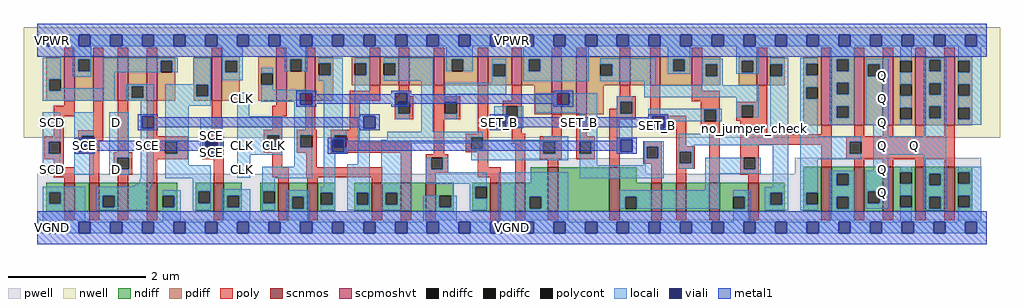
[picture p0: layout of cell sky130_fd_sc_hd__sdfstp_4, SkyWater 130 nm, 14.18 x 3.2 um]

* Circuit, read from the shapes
.subckt sky130_fd_sc_hd__sdfstp_4 CLK D SCD SCE SET_B VGND VNB VPB VPWR Q
XM1 n1 SCD VGND VNB sky130_fd_pr__nfet_01v8 w=0.42 l=0.15
XM2 n2 SCE n1 VNB sky130_fd_pr__nfet_01v8 w=0.42 l=0.15
XM3 n3 D n2 VNB sky130_fd_pr__nfet_01v8 w=0.42 l=0.15
XM4 VGND n4 n3 VNB sky130_fd_pr__nfet_01v8 w=0.42 l=0.15
XM5 VGND SCE n4 VNB sky130_fd_pr__nfet_01v8 w=0.42 l=0.15
XM6 VGND CLK n5 VNB sky130_fd_pr__nfet_01v8 w=0.42 l=0.15
XM7 n6 n5 VGND VNB sky130_fd_pr__nfet_01v8 w=0.42 l=0.15
XM8 n7 n5 n2 VNB sky130_fd_pr__nfet_01v8 w=0.42 l=0.15
XM9 n8 n6 n7 VNB sky130_fd_pr__nfet_01v8 w=0.42 l=0.15
XM10 VGND n9 n8 VNB sky130_fd_pr__nfet_01v8 w=0.42 l=0.15
XM11 n10 n7 n9 VNB sky130_fd_pr__nfet_01v8 w=0.42 l=0.15
XM12 VGND SET_B n10 VNB sky130_fd_pr__nfet_01v8 w=0.42 l=0.15
XM13 n11 n7 VGND VNB sky130_fd_pr__nfet_01v8 w=0.64 l=0.15
XM14 n12 n6 n11 VNB sky130_fd_pr__nfet_01v8 w=0.64 l=0.15
XM15 n13 n5 n12 VNB sky130_fd_pr__nfet_01v8 w=0.42 l=0.15
XM16 n14 n15 n13 VNB sky130_fd_pr__nfet_01v8 w=0.42 l=0.15
XM17 VGND SET_B n14 VNB sky130_fd_pr__nfet_01v8 w=0.42 l=0.15
XM18 n15 n12 VGND VNB sky130_fd_pr__nfet_01v8 w=0.42 l=0.15
XM19 VGND n12 n16 VNB sky130_fd_pr__nfet_01v8 w=0.65 l=0.15
XM20 Q n16 VGND VNB sky130_fd_pr__nfet_01v8 w=0.65 l=0.15 m=4
XM21 VPWR SCD n17 VPB sky130_fd_pr__pfet_01v8_hvt w=0.64 l=0.15
XM22 n18 SCE VPWR VPB sky130_fd_pr__pfet_01v8_hvt w=0.64 l=0.15
XM23 n2 D n18 VPB sky130_fd_pr__pfet_01v8_hvt w=0.64 l=0.15
XM24 n17 n4 n2 VPB sky130_fd_pr__pfet_01v8_hvt w=0.64 l=0.15
XM25 VPWR SCE n4 VPB sky130_fd_pr__pfet_01v8_hvt w=0.64 l=0.15
XM26 VPWR CLK n5 VPB sky130_fd_pr__pfet_01v8_hvt w=0.64 l=0.15
XM27 n6 n5 VPWR VPB sky130_fd_pr__pfet_01v8_hvt w=0.64 l=0.15
XM28 n7 n6 n2 VPB sky130_fd_pr__pfet_01v8_hvt w=0.42 l=0.15
XM29 n19 n5 n7 VPB sky130_fd_pr__pfet_01v8_hvt w=0.42 l=0.15
XM30 VPWR n9 n19 VPB sky130_fd_pr__pfet_01v8_hvt w=0.42 l=0.15
XM31 n9 n7 VPWR VPB sky130_fd_pr__pfet_01v8_hvt w=0.42 l=0.15
XM32 VPWR SET_B n9 VPB sky130_fd_pr__pfet_01v8_hvt w=0.42 l=0.15
XM33 n20 n7 VPWR VPB sky130_fd_pr__pfet_01v8_hvt w=0.84 l=0.15
XM34 n12 n5 n20 VPB sky130_fd_pr__pfet_01v8_hvt w=0.84 l=0.15
XM35 n21 n6 n12 VPB sky130_fd_pr__pfet_01v8_hvt w=0.42 l=0.15
XM36 VPWR n15 n21 VPB sky130_fd_pr__pfet_01v8_hvt w=0.42 l=0.15
XM37 n12 SET_B VPWR VPB sky130_fd_pr__pfet_01v8_hvt w=0.42 l=0.15
XM38 n15 n12 VPWR VPB sky130_fd_pr__pfet_01v8_hvt w=0.42 l=0.15
XM39 VPWR n12 n16 VPB sky130_fd_pr__pfet_01v8_hvt w=1 l=0.15
XM40 Q n16 VPWR VPB sky130_fd_pr__pfet_01v8_hvt w=1 l=0.15 m=4
.ends

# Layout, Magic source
magic
tech sky130A
magscale 1 2
<< nwell >>
rect -38 261 2798 582
<< pwell >>
rect 1408 157 1769 201
rect 2201 157 2744 203
rect 1 21 2744 157
rect 29 -17 63 21
<< scnmos >>
rect 79 47 109 131
rect 151 47 181 131
rect 235 47 265 131
rect 319 47 349 131
rect 513 47 543 131
rect 701 47 731 131
rect 785 47 815 131
rect 973 47 1003 131
rect 1057 47 1087 131
rect 1129 47 1159 131
rect 1317 47 1347 131
rect 1389 47 1419 131
rect 1484 47 1514 175
rect 1663 47 1693 175
rect 1785 47 1815 131
rect 1857 47 1887 131
rect 1953 47 1983 131
rect 2067 47 2097 131
rect 2279 47 2309 177
rect 2374 47 2404 177
rect 2458 47 2488 177
rect 2552 47 2582 177
rect 2636 47 2666 177
<< scpmoshvt >>
rect 79 369 109 497
rect 163 369 193 497
rect 235 369 265 497
rect 319 369 349 497
rect 507 369 537 497
rect 695 369 725 497
rect 779 369 809 497
rect 967 413 997 497
rect 1051 413 1081 497
rect 1153 413 1183 497
rect 1281 413 1311 497
rect 1379 413 1409 497
rect 1495 329 1525 497
rect 1567 329 1597 497
rect 1693 413 1723 497
rect 1781 413 1811 497
rect 1903 413 1933 497
rect 2091 413 2121 497
rect 2279 297 2309 497
rect 2374 297 2404 497
rect 2458 297 2488 497
rect 2552 297 2582 497
rect 2636 297 2666 497
<< ndiff >>
rect 1434 131 1484 175
rect 27 103 79 131
rect 27 69 35 103
rect 69 69 79 103
rect 27 47 79 69
rect 109 47 151 131
rect 181 93 235 131
rect 181 59 191 93
rect 225 59 235 93
rect 181 47 235 59
rect 265 47 319 131
rect 349 93 407 131
rect 349 59 365 93
rect 399 59 407 93
rect 349 47 407 59
rect 461 105 513 131
rect 461 71 469 105
rect 503 71 513 105
rect 461 47 513 71
rect 543 93 595 131
rect 543 59 553 93
rect 587 59 595 93
rect 543 47 595 59
rect 649 105 701 131
rect 649 71 657 105
rect 691 71 701 105
rect 649 47 701 71
rect 731 89 785 131
rect 731 55 741 89
rect 775 55 785 89
rect 731 47 785 55
rect 815 101 867 131
rect 815 67 825 101
rect 859 67 867 101
rect 815 47 867 67
rect 921 101 973 131
rect 921 67 929 101
rect 963 67 973 101
rect 921 47 973 67
rect 1003 101 1057 131
rect 1003 67 1013 101
rect 1047 67 1057 101
rect 1003 47 1057 67
rect 1087 47 1129 131
rect 1159 93 1211 131
rect 1159 59 1169 93
rect 1203 59 1211 93
rect 1159 47 1211 59
rect 1265 119 1317 131
rect 1265 85 1273 119
rect 1307 85 1317 119
rect 1265 47 1317 85
rect 1347 47 1389 131
rect 1419 89 1484 131
rect 1419 55 1431 89
rect 1465 55 1484 89
rect 1419 47 1484 55
rect 1514 47 1663 175
rect 1693 131 1743 175
rect 1693 89 1785 131
rect 1693 55 1709 89
rect 1743 55 1785 89
rect 1693 47 1785 55
rect 1815 47 1857 131
rect 1887 47 1953 131
rect 1983 89 2067 131
rect 1983 55 2023 89
rect 2057 55 2067 89
rect 1983 47 2067 55
rect 2097 101 2173 131
rect 2097 67 2131 101
rect 2165 67 2173 101
rect 2097 47 2173 67
rect 2227 102 2279 177
rect 2227 68 2235 102
rect 2269 68 2279 102
rect 2227 47 2279 68
rect 2309 157 2374 177
rect 2309 123 2324 157
rect 2358 123 2374 157
rect 2309 89 2374 123
rect 2309 55 2324 89
rect 2358 55 2374 89
rect 2309 47 2374 55
rect 2404 105 2458 177
rect 2404 71 2414 105
rect 2448 71 2458 105
rect 2404 47 2458 71
rect 2488 161 2552 177
rect 2488 127 2508 161
rect 2542 127 2552 161
rect 2488 93 2552 127
rect 2488 59 2508 93
rect 2542 59 2552 93
rect 2488 47 2552 59
rect 2582 157 2636 177
rect 2582 123 2592 157
rect 2626 123 2636 157
rect 2582 89 2636 123
rect 2582 55 2592 89
rect 2626 55 2636 89
rect 2582 47 2636 55
rect 2666 161 2718 177
rect 2666 127 2676 161
rect 2710 127 2718 161
rect 2666 93 2718 127
rect 2666 59 2676 93
rect 2710 59 2718 93
rect 2666 47 2718 59
<< pdiff >>
rect 27 431 79 497
rect 27 397 35 431
rect 69 397 79 431
rect 27 369 79 397
rect 109 489 163 497
rect 109 455 119 489
rect 153 455 163 489
rect 109 369 163 455
rect 193 369 235 497
rect 265 411 319 497
rect 265 377 275 411
rect 309 377 319 411
rect 265 369 319 377
rect 349 485 401 497
rect 349 451 359 485
rect 393 451 401 485
rect 349 369 401 451
rect 455 415 507 497
rect 455 381 463 415
rect 497 381 507 415
rect 455 369 507 381
rect 537 485 589 497
rect 537 451 547 485
rect 581 451 589 485
rect 537 369 589 451
rect 643 449 695 497
rect 643 415 651 449
rect 685 415 695 449
rect 643 369 695 415
rect 725 489 779 497
rect 725 455 735 489
rect 769 455 779 489
rect 725 369 779 455
rect 809 477 861 497
rect 809 443 819 477
rect 853 443 861 477
rect 809 369 861 443
rect 915 477 967 497
rect 915 443 923 477
rect 957 443 967 477
rect 915 413 967 443
rect 997 477 1051 497
rect 997 443 1007 477
rect 1041 443 1051 477
rect 997 413 1051 443
rect 1081 413 1153 497
rect 1183 489 1281 497
rect 1183 455 1205 489
rect 1239 455 1281 489
rect 1183 413 1281 455
rect 1311 474 1379 497
rect 1311 440 1326 474
rect 1360 440 1379 474
rect 1311 413 1379 440
rect 1409 489 1495 497
rect 1409 455 1428 489
rect 1462 455 1495 489
rect 1409 413 1495 455
rect 1445 329 1495 413
rect 1525 329 1567 497
rect 1597 475 1693 497
rect 1597 441 1637 475
rect 1671 441 1693 475
rect 1597 413 1693 441
rect 1723 413 1781 497
rect 1811 489 1903 497
rect 1811 455 1848 489
rect 1882 455 1903 489
rect 1811 413 1903 455
rect 1933 474 1985 497
rect 1933 440 1943 474
rect 1977 440 1985 474
rect 1933 413 1985 440
rect 2039 485 2091 497
rect 2039 451 2047 485
rect 2081 451 2091 485
rect 2039 413 2091 451
rect 2121 474 2173 497
rect 2121 440 2131 474
rect 2165 440 2173 474
rect 2121 413 2173 440
rect 2227 476 2279 497
rect 2227 442 2235 476
rect 2269 442 2279 476
rect 1597 329 1647 413
rect 2227 408 2279 442
rect 2227 374 2235 408
rect 2269 374 2279 408
rect 2227 297 2279 374
rect 2309 489 2374 497
rect 2309 455 2324 489
rect 2358 455 2374 489
rect 2309 421 2374 455
rect 2309 387 2324 421
rect 2358 387 2374 421
rect 2309 353 2374 387
rect 2309 319 2324 353
rect 2358 319 2374 353
rect 2309 297 2374 319
rect 2404 474 2458 497
rect 2404 440 2414 474
rect 2448 440 2458 474
rect 2404 297 2458 440
rect 2488 485 2552 497
rect 2488 451 2508 485
rect 2542 451 2552 485
rect 2488 417 2552 451
rect 2488 383 2508 417
rect 2542 383 2552 417
rect 2488 349 2552 383
rect 2488 315 2508 349
rect 2542 315 2552 349
rect 2488 297 2552 315
rect 2582 488 2636 497
rect 2582 454 2592 488
rect 2626 454 2636 488
rect 2582 420 2636 454
rect 2582 386 2592 420
rect 2626 386 2636 420
rect 2582 352 2636 386
rect 2582 318 2592 352
rect 2626 318 2636 352
rect 2582 297 2636 318
rect 2666 485 2718 497
rect 2666 451 2676 485
rect 2710 451 2718 485
rect 2666 417 2718 451
rect 2666 383 2676 417
rect 2710 383 2718 417
rect 2666 349 2718 383
rect 2666 315 2676 349
rect 2710 315 2718 349
rect 2666 297 2718 315
<< ndiffc >>
rect 35 69 69 103
rect 191 59 225 93
rect 365 59 399 93
rect 469 71 503 105
rect 553 59 587 93
rect 657 71 691 105
rect 741 55 775 89
rect 825 67 859 101
rect 929 67 963 101
rect 1013 67 1047 101
rect 1169 59 1203 93
rect 1273 85 1307 119
rect 1431 55 1465 89
rect 1709 55 1743 89
rect 2023 55 2057 89
rect 2131 67 2165 101
rect 2235 68 2269 102
rect 2324 123 2358 157
rect 2324 55 2358 89
rect 2414 71 2448 105
rect 2508 127 2542 161
rect 2508 59 2542 93
rect 2592 123 2626 157
rect 2592 55 2626 89
rect 2676 127 2710 161
rect 2676 59 2710 93
<< pdiffc >>
rect 35 397 69 431
rect 119 455 153 489
rect 275 377 309 411
rect 359 451 393 485
rect 463 381 497 415
rect 547 451 581 485
rect 651 415 685 449
rect 735 455 769 489
rect 819 443 853 477
rect 923 443 957 477
rect 1007 443 1041 477
rect 1205 455 1239 489
rect 1326 440 1360 474
rect 1428 455 1462 489
rect 1637 441 1671 475
rect 1848 455 1882 489
rect 1943 440 1977 474
rect 2047 451 2081 485
rect 2131 440 2165 474
rect 2235 442 2269 476
rect 2235 374 2269 408
rect 2324 455 2358 489
rect 2324 387 2358 421
rect 2324 319 2358 353
rect 2414 440 2448 474
rect 2508 451 2542 485
rect 2508 383 2542 417
rect 2508 315 2542 349
rect 2592 454 2626 488
rect 2592 386 2626 420
rect 2592 318 2626 352
rect 2676 451 2710 485
rect 2676 383 2710 417
rect 2676 315 2710 349
<< poly >>
rect 79 497 109 523
rect 163 497 193 523
rect 235 497 265 523
rect 319 497 349 523
rect 507 497 537 523
rect 695 497 725 523
rect 779 497 809 523
rect 967 497 997 523
rect 1051 497 1081 523
rect 1153 497 1183 523
rect 1281 497 1311 523
rect 1379 497 1409 523
rect 1495 497 1525 523
rect 1567 497 1597 523
rect 1693 497 1723 523
rect 1781 497 1811 523
rect 1903 497 1933 523
rect 2091 497 2121 523
rect 2279 497 2309 523
rect 2374 497 2404 523
rect 2458 497 2488 523
rect 2552 497 2582 523
rect 2636 497 2666 523
rect 967 398 997 413
rect 79 354 109 369
rect 48 324 109 354
rect 48 265 78 324
rect 163 283 193 369
rect 21 249 78 265
rect 21 215 34 249
rect 68 215 78 249
rect 120 267 193 283
rect 120 233 130 267
rect 164 253 193 267
rect 164 233 181 253
rect 120 217 181 233
rect 235 219 265 369
rect 319 265 349 369
rect 507 265 537 369
rect 695 354 725 369
rect 683 324 725 354
rect 683 284 713 324
rect 779 284 809 369
rect 908 368 997 398
rect 1051 381 1081 413
rect 1153 381 1183 413
rect 908 284 938 368
rect 1039 365 1093 381
rect 1039 331 1049 365
rect 1083 331 1093 365
rect 1039 315 1093 331
rect 1153 365 1229 381
rect 1153 331 1185 365
rect 1219 331 1229 365
rect 1153 315 1229 331
rect 659 268 713 284
rect 319 249 438 265
rect 21 199 78 215
rect 48 176 78 199
rect 48 146 109 176
rect 79 131 109 146
rect 151 131 181 217
rect 223 203 277 219
rect 223 169 233 203
rect 267 169 277 203
rect 223 153 277 169
rect 319 215 373 249
rect 407 215 438 249
rect 319 199 438 215
rect 480 249 543 265
rect 480 215 490 249
rect 524 215 543 249
rect 659 234 669 268
rect 703 234 713 268
rect 659 218 713 234
rect 755 268 812 284
rect 755 234 765 268
rect 799 234 812 268
rect 755 218 812 234
rect 854 268 938 284
rect 854 234 864 268
rect 898 248 938 268
rect 898 234 1087 248
rect 854 218 1087 234
rect 480 199 543 215
rect 235 131 265 153
rect 319 131 349 199
rect 513 131 543 199
rect 683 176 713 218
rect 782 176 812 218
rect 683 146 731 176
rect 782 146 1003 176
rect 701 131 731 146
rect 785 131 815 146
rect 973 131 1003 146
rect 1057 131 1087 218
rect 1153 213 1183 315
rect 1281 273 1311 413
rect 1379 369 1409 413
rect 1353 353 1409 369
rect 1353 319 1363 353
rect 1397 319 1409 353
rect 1693 381 1723 413
rect 1685 365 1739 381
rect 1685 345 1695 365
rect 1663 331 1695 345
rect 1729 331 1739 365
rect 1353 303 1409 319
rect 1245 263 1311 273
rect 1245 229 1261 263
rect 1295 229 1311 263
rect 1379 273 1409 303
rect 1379 243 1419 273
rect 1495 265 1525 329
rect 1245 219 1311 229
rect 1129 203 1195 213
rect 1129 169 1145 203
rect 1179 169 1195 203
rect 1129 159 1195 169
rect 1281 176 1311 219
rect 1129 131 1159 159
rect 1281 146 1347 176
rect 1317 131 1347 146
rect 1389 131 1419 243
rect 1461 249 1525 265
rect 1461 215 1471 249
rect 1505 215 1525 249
rect 1461 199 1525 215
rect 1567 265 1597 329
rect 1663 315 1739 331
rect 1781 325 1811 413
rect 1903 397 1933 413
rect 1903 367 1983 397
rect 1929 343 1983 367
rect 2091 365 2121 413
rect 1567 249 1621 265
rect 1567 215 1577 249
rect 1611 215 1621 249
rect 1567 199 1621 215
rect 1484 175 1514 199
rect 1663 175 1693 315
rect 1781 295 1887 325
rect 1761 235 1815 251
rect 1761 201 1771 235
rect 1805 201 1815 235
rect 1761 185 1815 201
rect 1785 131 1815 185
rect 1857 237 1887 295
rect 1929 309 1939 343
rect 1973 309 1983 343
rect 2031 355 2121 365
rect 2031 321 2047 355
rect 2081 321 2121 355
rect 2031 311 2121 321
rect 1929 293 1983 309
rect 1857 221 1911 237
rect 1857 187 1867 221
rect 1901 187 1911 221
rect 1857 171 1911 187
rect 1857 131 1887 171
rect 1953 131 1983 293
rect 2043 271 2121 311
rect 2279 271 2309 297
rect 2043 241 2309 271
rect 2374 265 2404 297
rect 2458 265 2488 297
rect 2552 265 2582 297
rect 2636 265 2666 297
rect 2043 203 2097 241
rect 2043 169 2053 203
rect 2087 169 2097 203
rect 2279 177 2309 241
rect 2351 249 2666 265
rect 2351 215 2361 249
rect 2395 215 2666 249
rect 2351 199 2666 215
rect 2374 177 2404 199
rect 2458 177 2488 199
rect 2552 177 2582 199
rect 2636 177 2666 199
rect 2043 153 2097 169
rect 2067 131 2097 153
rect 79 21 109 47
rect 151 21 181 47
rect 235 21 265 47
rect 319 21 349 47
rect 513 21 543 47
rect 701 21 731 47
rect 785 21 815 47
rect 973 21 1003 47
rect 1057 21 1087 47
rect 1129 21 1159 47
rect 1317 21 1347 47
rect 1389 21 1419 47
rect 1484 21 1514 47
rect 1663 21 1693 47
rect 1785 21 1815 47
rect 1857 21 1887 47
rect 1953 21 1983 47
rect 2067 21 2097 47
rect 2279 21 2309 47
rect 2374 21 2404 47
rect 2458 21 2488 47
rect 2552 21 2582 47
rect 2636 21 2666 47
<< polycont >>
rect 34 215 68 249
rect 130 233 164 267
rect 1049 331 1083 365
rect 1185 331 1219 365
rect 233 169 267 203
rect 373 215 407 249
rect 490 215 524 249
rect 669 234 703 268
rect 765 234 799 268
rect 864 234 898 268
rect 1363 319 1397 353
rect 1695 331 1729 365
rect 1261 229 1295 263
rect 1145 169 1179 203
rect 1471 215 1505 249
rect 1577 215 1611 249
rect 1771 201 1805 235
rect 1939 309 1973 343
rect 2047 321 2081 355
rect 1867 187 1901 221
rect 2053 169 2087 203
rect 2361 215 2395 249
<< locali >>
rect 0 527 29 561
rect 63 527 121 561
rect 155 527 213 561
rect 247 527 305 561
rect 339 527 397 561
rect 431 527 489 561
rect 523 527 581 561
rect 615 527 673 561
rect 707 527 765 561
rect 799 527 857 561
rect 891 527 949 561
rect 983 527 1041 561
rect 1075 527 1133 561
rect 1167 527 1225 561
rect 1259 527 1317 561
rect 1351 527 1409 561
rect 1443 527 1501 561
rect 1535 527 1593 561
rect 1627 527 1685 561
rect 1719 527 1777 561
rect 1811 527 1869 561
rect 1903 527 1961 561
rect 1995 527 2053 561
rect 2087 527 2145 561
rect 2179 527 2237 561
rect 2271 527 2329 561
rect 2363 527 2421 561
rect 2455 527 2513 561
rect 2547 527 2605 561
rect 2639 527 2697 561
rect 2731 527 2760 561
rect 17 431 69 493
rect 103 489 157 527
rect 103 455 119 489
rect 153 455 157 489
rect 103 439 157 455
rect 191 485 409 493
rect 191 451 359 485
rect 393 451 409 485
rect 17 397 35 431
rect 191 405 225 451
rect 454 417 504 493
rect 538 485 597 527
rect 538 451 547 485
rect 581 451 597 485
rect 719 489 785 527
rect 538 428 597 451
rect 651 449 685 465
rect 719 455 735 489
rect 769 455 785 489
rect 819 477 888 493
rect 69 397 225 405
rect 17 369 225 397
rect 259 411 339 417
rect 259 377 275 411
rect 309 377 339 411
rect 259 369 339 377
rect 17 249 68 335
rect 17 215 34 249
rect 17 153 68 215
rect 108 267 164 335
rect 108 255 130 267
rect 108 221 121 255
rect 155 221 164 233
rect 108 153 164 221
rect 210 203 267 335
rect 210 169 233 203
rect 210 153 267 169
rect 301 323 339 369
rect 301 289 305 323
rect 301 142 339 289
rect 373 415 504 417
rect 373 381 463 415
rect 497 381 504 415
rect 853 443 888 477
rect 819 427 888 443
rect 651 400 685 415
rect 651 398 797 400
rect 373 354 504 381
rect 373 249 440 354
rect 581 323 617 392
rect 651 391 799 398
rect 651 366 765 391
rect 747 357 765 366
rect 407 215 440 249
rect 474 255 540 320
rect 474 221 489 255
rect 523 249 540 255
rect 474 215 490 221
rect 524 215 540 249
rect 581 268 713 323
rect 581 234 669 268
rect 703 234 713 268
rect 373 181 440 215
rect 581 211 713 234
rect 747 268 799 357
rect 747 234 765 268
rect 373 143 504 181
rect 581 145 620 211
rect 747 177 799 234
rect 301 141 335 142
rect 299 133 335 141
rect 295 132 335 133
rect 295 129 334 132
rect 292 127 333 129
rect 289 126 333 127
rect 288 124 333 126
rect 286 123 332 124
rect 284 122 332 123
rect 281 121 332 122
rect 279 120 332 121
rect 276 119 332 120
rect 17 103 140 119
rect 17 69 35 103
rect 69 69 140 103
rect 17 17 140 69
rect 174 115 330 119
rect 174 111 328 115
rect 174 93 325 111
rect 174 59 191 93
rect 225 59 325 93
rect 174 51 325 59
rect 365 93 418 109
rect 399 59 418 93
rect 365 17 418 59
rect 452 105 504 143
rect 654 143 799 177
rect 833 284 888 427
rect 923 477 966 493
rect 957 443 966 477
rect 923 323 966 443
rect 1007 477 1151 493
rect 1041 443 1151 477
rect 1189 489 1266 527
rect 1189 455 1205 489
rect 1239 455 1266 489
rect 1321 474 1364 490
rect 1007 427 1151 443
rect 1075 365 1083 391
rect 1041 331 1049 357
rect 923 318 949 323
rect 932 289 949 318
rect 1041 315 1083 331
rect 833 268 898 284
rect 833 255 864 268
rect 833 221 857 255
rect 891 221 898 234
rect 833 218 898 221
rect 452 71 469 105
rect 503 71 504 105
rect 452 51 504 71
rect 538 93 620 111
rect 538 59 553 93
rect 587 59 620 93
rect 538 17 620 59
rect 654 105 691 143
rect 833 117 867 218
rect 932 184 966 289
rect 1117 279 1151 427
rect 1321 440 1326 474
rect 1360 440 1364 474
rect 1321 421 1364 440
rect 1412 489 1603 527
rect 1412 455 1428 489
rect 1462 455 1603 489
rect 1412 425 1603 455
rect 1637 475 1798 492
rect 1671 441 1798 475
rect 1832 489 1898 527
rect 1832 455 1848 489
rect 1882 455 1898 489
rect 1832 447 1898 455
rect 1932 474 1993 490
rect 1637 425 1798 441
rect 1185 387 1364 421
rect 1764 413 1798 425
rect 1932 440 1943 474
rect 1977 440 1993 474
rect 2031 485 2097 527
rect 2031 451 2047 485
rect 2081 451 2097 485
rect 2031 447 2097 451
rect 2131 474 2183 493
rect 1932 413 1993 440
rect 2165 440 2183 474
rect 1185 365 1219 387
rect 1447 357 1512 391
rect 1546 357 1627 391
rect 1185 315 1219 331
rect 1328 323 1363 353
rect 1362 319 1363 323
rect 1397 319 1413 353
rect 1447 334 1627 357
rect 1362 289 1413 319
rect 1017 263 1295 279
rect 1017 255 1261 263
rect 654 71 657 105
rect 654 51 691 71
rect 725 89 791 109
rect 725 55 741 89
rect 775 55 791 89
rect 725 17 791 55
rect 825 101 867 117
rect 859 67 867 101
rect 825 51 867 67
rect 901 101 966 184
rect 901 67 929 101
rect 963 67 966 101
rect 901 51 966 67
rect 1000 245 1261 255
rect 1000 101 1088 245
rect 1471 255 1543 265
rect 1295 249 1543 255
rect 1295 229 1471 249
rect 1261 215 1471 229
rect 1505 215 1543 249
rect 1129 169 1145 203
rect 1179 169 1195 203
rect 1261 195 1543 215
rect 1577 249 1627 334
rect 1611 215 1627 249
rect 1685 365 1730 381
rect 1764 379 2097 413
rect 1685 331 1695 365
rect 1729 331 1730 365
rect 2031 355 2097 379
rect 1685 255 1730 331
rect 1776 343 1989 345
rect 1776 323 1939 343
rect 1776 289 1788 323
rect 1822 309 1939 323
rect 1973 309 1989 343
rect 2031 321 2047 355
rect 2081 321 2097 355
rect 1822 289 1827 309
rect 1776 285 1827 289
rect 2131 273 2183 440
rect 1685 221 1696 255
rect 1685 215 1730 221
rect 1764 235 1821 251
rect 1129 161 1195 169
rect 1577 181 1627 215
rect 1764 201 1771 235
rect 1805 201 1821 235
rect 1764 181 1821 201
rect 1129 127 1307 161
rect 1000 67 1013 101
rect 1047 67 1088 101
rect 1257 119 1307 127
rect 1000 51 1088 67
rect 1122 59 1169 93
rect 1203 59 1219 93
rect 1122 17 1219 59
rect 1257 85 1273 119
rect 1257 51 1307 85
rect 1341 89 1543 161
rect 1577 144 1821 181
rect 1864 239 2183 273
rect 1864 221 1906 239
rect 1864 187 1867 221
rect 1901 187 1906 221
rect 1864 171 1906 187
rect 1942 169 2053 203
rect 2087 169 2103 203
rect 1942 157 2103 169
rect 1942 109 1982 157
rect 2137 117 2183 239
rect 1341 55 1431 89
rect 1465 55 1543 89
rect 1693 89 1982 109
rect 1693 55 1709 89
rect 1743 55 1982 89
rect 2023 89 2073 109
rect 2057 55 2073 89
rect 1341 17 1543 55
rect 2023 17 2073 55
rect 2115 101 2183 117
rect 2115 67 2131 101
rect 2165 67 2183 101
rect 2115 51 2183 67
rect 2217 476 2269 493
rect 2217 442 2235 476
rect 2217 408 2269 442
rect 2217 374 2235 408
rect 2217 265 2269 374
rect 2303 489 2374 527
rect 2303 455 2324 489
rect 2358 455 2374 489
rect 2303 421 2374 455
rect 2303 387 2324 421
rect 2358 387 2374 421
rect 2303 353 2374 387
rect 2303 319 2324 353
rect 2358 319 2374 353
rect 2303 299 2374 319
rect 2408 474 2474 490
rect 2408 440 2414 474
rect 2448 440 2474 474
rect 2408 299 2474 440
rect 2508 485 2542 527
rect 2508 417 2542 451
rect 2508 349 2542 383
rect 2508 299 2542 315
rect 2576 488 2642 493
rect 2576 454 2592 488
rect 2626 454 2642 488
rect 2576 420 2642 454
rect 2576 386 2592 420
rect 2626 386 2642 420
rect 2576 352 2642 386
rect 2576 318 2592 352
rect 2626 318 2642 352
rect 2429 265 2474 299
rect 2576 265 2642 318
rect 2676 485 2743 527
rect 2710 451 2743 485
rect 2676 417 2743 451
rect 2710 383 2743 417
rect 2676 349 2743 383
rect 2710 315 2743 349
rect 2676 299 2743 315
rect 2217 249 2395 265
rect 2217 215 2361 249
rect 2217 199 2395 215
rect 2429 211 2642 265
rect 2217 102 2269 199
rect 2429 165 2474 211
rect 2217 68 2235 102
rect 2217 51 2269 68
rect 2303 157 2374 165
rect 2303 123 2324 157
rect 2358 123 2374 157
rect 2303 89 2374 123
rect 2303 55 2324 89
rect 2358 55 2374 89
rect 2408 105 2474 165
rect 2408 71 2414 105
rect 2448 71 2474 105
rect 2408 55 2474 71
rect 2508 161 2542 177
rect 2508 93 2542 127
rect 2303 17 2374 55
rect 2508 17 2542 59
rect 2576 157 2642 211
rect 2576 123 2592 157
rect 2626 123 2642 157
rect 2576 89 2642 123
rect 2576 55 2592 89
rect 2626 55 2642 89
rect 2576 51 2642 55
rect 2676 161 2743 177
rect 2710 127 2743 161
rect 2676 93 2743 127
rect 2710 59 2743 93
rect 2676 17 2743 59
rect 0 -17 29 17
rect 63 -17 121 17
rect 155 -17 213 17
rect 247 -17 305 17
rect 339 -17 397 17
rect 431 -17 489 17
rect 523 -17 581 17
rect 615 -17 673 17
rect 707 -17 765 17
rect 799 -17 857 17
rect 891 -17 949 17
rect 983 -17 1041 17
rect 1075 -17 1133 17
rect 1167 -17 1225 17
rect 1259 -17 1317 17
rect 1351 -17 1409 17
rect 1443 -17 1501 17
rect 1535 -17 1593 17
rect 1627 -17 1685 17
rect 1719 -17 1777 17
rect 1811 -17 1869 17
rect 1903 -17 1961 17
rect 1995 -17 2053 17
rect 2087 -17 2145 17
rect 2179 -17 2237 17
rect 2271 -17 2329 17
rect 2363 -17 2421 17
rect 2455 -17 2513 17
rect 2547 -17 2605 17
rect 2639 -17 2697 17
rect 2731 -17 2760 17
<< viali >>
rect 29 527 63 561
rect 121 527 155 561
rect 213 527 247 561
rect 305 527 339 561
rect 397 527 431 561
rect 489 527 523 561
rect 581 527 615 561
rect 673 527 707 561
rect 765 527 799 561
rect 857 527 891 561
rect 949 527 983 561
rect 1041 527 1075 561
rect 1133 527 1167 561
rect 1225 527 1259 561
rect 1317 527 1351 561
rect 1409 527 1443 561
rect 1501 527 1535 561
rect 1593 527 1627 561
rect 1685 527 1719 561
rect 1777 527 1811 561
rect 1869 527 1903 561
rect 1961 527 1995 561
rect 2053 527 2087 561
rect 2145 527 2179 561
rect 2237 527 2271 561
rect 2329 527 2363 561
rect 2421 527 2455 561
rect 2513 527 2547 561
rect 2605 527 2639 561
rect 2697 527 2731 561
rect 121 233 130 255
rect 130 233 155 255
rect 121 221 155 233
rect 305 289 339 323
rect 765 357 799 391
rect 489 249 523 255
rect 489 221 490 249
rect 490 221 523 249
rect 1041 365 1075 391
rect 1041 357 1049 365
rect 1049 357 1075 365
rect 949 289 983 323
rect 857 234 864 255
rect 864 234 891 255
rect 857 221 891 234
rect 1512 357 1546 391
rect 1328 289 1362 323
rect 1788 289 1822 323
rect 1696 221 1730 255
rect 29 -17 63 17
rect 121 -17 155 17
rect 213 -17 247 17
rect 305 -17 339 17
rect 397 -17 431 17
rect 489 -17 523 17
rect 581 -17 615 17
rect 673 -17 707 17
rect 765 -17 799 17
rect 857 -17 891 17
rect 949 -17 983 17
rect 1041 -17 1075 17
rect 1133 -17 1167 17
rect 1225 -17 1259 17
rect 1317 -17 1351 17
rect 1409 -17 1443 17
rect 1501 -17 1535 17
rect 1593 -17 1627 17
rect 1685 -17 1719 17
rect 1777 -17 1811 17
rect 1869 -17 1903 17
rect 1961 -17 1995 17
rect 2053 -17 2087 17
rect 2145 -17 2179 17
rect 2237 -17 2271 17
rect 2329 -17 2363 17
rect 2421 -17 2455 17
rect 2513 -17 2547 17
rect 2605 -17 2639 17
rect 2697 -17 2731 17
<< metal1 >>
rect 0 561 2760 592
rect 0 527 29 561
rect 63 527 121 561
rect 155 527 213 561
rect 247 527 305 561
rect 339 527 397 561
rect 431 527 489 561
rect 523 527 581 561
rect 615 527 673 561
rect 707 527 765 561
rect 799 527 857 561
rect 891 527 949 561
rect 983 527 1041 561
rect 1075 527 1133 561
rect 1167 527 1225 561
rect 1259 527 1317 561
rect 1351 527 1409 561
rect 1443 527 1501 561
rect 1535 527 1593 561
rect 1627 527 1685 561
rect 1719 527 1777 561
rect 1811 527 1869 561
rect 1903 527 1961 561
rect 1995 527 2053 561
rect 2087 527 2145 561
rect 2179 527 2237 561
rect 2271 527 2329 561
rect 2363 527 2421 561
rect 2455 527 2513 561
rect 2547 527 2605 561
rect 2639 527 2697 561
rect 2731 527 2760 561
rect 0 496 2760 527
rect 753 391 811 397
rect 753 357 765 391
rect 799 388 811 391
rect 1029 391 1087 397
rect 1029 388 1041 391
rect 799 360 1041 388
rect 799 357 811 360
rect 753 351 811 357
rect 1029 357 1041 360
rect 1075 388 1087 391
rect 1500 391 1558 397
rect 1500 388 1512 391
rect 1075 360 1512 388
rect 1075 357 1087 360
rect 1029 351 1087 357
rect 1500 357 1512 360
rect 1546 357 1558 391
rect 1500 351 1558 357
rect 293 323 351 329
rect 293 289 305 323
rect 339 320 351 323
rect 937 323 995 329
rect 937 320 949 323
rect 339 292 949 320
rect 339 289 351 292
rect 293 283 351 289
rect 937 289 949 292
rect 983 289 995 323
rect 937 283 995 289
rect 1316 323 1374 329
rect 1316 289 1328 323
rect 1362 320 1374 323
rect 1776 323 1834 329
rect 1776 320 1788 323
rect 1362 292 1788 320
rect 1362 289 1374 292
rect 1316 283 1374 289
rect 1776 289 1788 292
rect 1822 289 1834 323
rect 1776 283 1834 289
rect 109 255 167 261
rect 109 221 121 255
rect 155 252 167 255
rect 477 255 535 261
rect 477 252 489 255
rect 155 224 489 252
rect 155 221 167 224
rect 109 215 167 221
rect 477 221 489 224
rect 523 221 535 255
rect 477 215 535 221
rect 845 255 903 261
rect 845 221 857 255
rect 891 252 903 255
rect 1684 255 1742 261
rect 1684 252 1696 255
rect 891 224 1696 252
rect 891 221 903 224
rect 845 215 903 221
rect 1684 221 1696 224
rect 1730 221 1742 255
rect 1684 215 1742 221
rect 0 17 2760 48
rect 0 -17 29 17
rect 63 -17 121 17
rect 155 -17 213 17
rect 247 -17 305 17
rect 339 -17 397 17
rect 431 -17 489 17
rect 523 -17 581 17
rect 615 -17 673 17
rect 707 -17 765 17
rect 799 -17 857 17
rect 891 -17 949 17
rect 983 -17 1041 17
rect 1075 -17 1133 17
rect 1167 -17 1225 17
rect 1259 -17 1317 17
rect 1351 -17 1409 17
rect 1443 -17 1501 17
rect 1535 -17 1593 17
rect 1627 -17 1685 17
rect 1719 -17 1777 17
rect 1811 -17 1869 17
rect 1903 -17 1961 17
rect 1995 -17 2053 17
rect 2087 -17 2145 17
rect 2179 -17 2237 17
rect 2271 -17 2329 17
rect 2363 -17 2421 17
rect 2455 -17 2513 17
rect 2547 -17 2605 17
rect 2639 -17 2697 17
rect 2731 -17 2760 17
rect 0 -48 2760 -17
<< labels >>
flabel locali s 673 221 707 255 0 FreeSans 200 0 0 0 CLK
port 1 nsew clock input
flabel locali s 581 153 615 187 0 FreeSans 200 0 0 0 CLK
port 1 nsew clock input
flabel locali s 581 221 615 255 0 FreeSans 200 0 0 0 CLK
port 1 nsew clock input
flabel locali s 213 153 247 187 0 FreeSans 200 0 0 0 D
port 2 nsew signal input
flabel locali s 121 221 155 255 0 FreeSans 200 0 0 0 SCE
port 4 nsew signal input
flabel locali s 1328 289 1362 323 0 FreeSans 200 0 0 0 SET_B
port 5 nsew signal input
flabel locali s 29 289 63 323 0 FreeSans 200 0 0 0 SCD
port 3 nsew signal input
flabel locali s 213 289 247 323 0 FreeSans 200 0 0 0 D
port 2 nsew signal input
flabel locali s 581 357 615 391 0 FreeSans 200 0 0 0 CLK
port 1 nsew clock input
flabel locali s 29 153 63 187 0 FreeSans 200 0 0 0 SCD
port 3 nsew signal input
flabel locali s 2532 221 2566 255 0 FreeSans 200 0 0 0 Q
port 10 nsew signal output
flabel locali s 2440 357 2474 391 0 FreeSans 200 0 0 0 Q
port 10 nsew signal output
flabel locali s 2440 425 2474 459 0 FreeSans 200 0 0 0 Q
port 10 nsew signal output
flabel locali s 2440 221 2474 255 0 FreeSans 200 0 0 0 Q
port 10 nsew signal output
flabel locali s 2440 153 2474 187 0 FreeSans 200 0 0 0 Q
port 10 nsew signal output
flabel locali s 2440 85 2474 119 0 FreeSans 200 0 0 0 Q
port 10 nsew signal output
flabel locali s 2440 289 2474 323 0 FreeSans 200 0 0 0 Q
port 10 nsew signal output
flabel metal1 s 29 527 63 561 0 FreeSans 200 0 0 0 VPWR
port 9 nsew power bidirectional abutment
flabel metal1 s 29 -17 63 17 0 FreeSans 200 0 0 0 VGND
port 6 nsew ground bidirectional abutment
flabel nwell s 29 527 63 561 0 FreeSans 200 0 0 0 VPB
port 8 nsew power bidirectional
flabel pwell s 29 -17 63 17 0 FreeSans 200 0 0 0 VNB
port 7 nsew ground bidirectional
flabel comment s 1167 286 1167 286 0 FreeSans 200 0 0 0 no_jumper_check
rlabel comment s 0 0 0 0 4 sdfstp_4
flabel comment s 2084 287 2084 287 0 FreeSans 200 0 0 0 no_jumper_check
rlabel locali s 474 215 540 320 1 SCE
port 4 nsew signal input
rlabel metal1 s 477 252 535 261 1 SCE
port 4 nsew signal input
rlabel metal1 s 477 215 535 224 1 SCE
port 4 nsew signal input
rlabel metal1 s 109 252 167 261 1 SCE
port 4 nsew signal input
rlabel metal1 s 109 224 535 252 1 SCE
port 4 nsew signal input
rlabel metal1 s 109 215 167 224 1 SCE
port 4 nsew signal input
rlabel locali s 1776 309 1989 345 1 SET_B
port 5 nsew signal input
rlabel locali s 1776 285 1827 309 1 SET_B
port 5 nsew signal input
rlabel metal1 s 1776 320 1834 329 1 SET_B
port 5 nsew signal input
rlabel metal1 s 1776 283 1834 292 1 SET_B
port 5 nsew signal input
rlabel metal1 s 1316 320 1374 329 1 SET_B
port 5 nsew signal input
rlabel metal1 s 1316 292 1834 320 1 SET_B
port 5 nsew signal input
rlabel metal1 s 1316 283 1374 292 1 SET_B
port 5 nsew signal input
rlabel metal1 s 0 -48 2760 48 1 VGND
port 6 nsew ground bidirectional abutment
rlabel metal1 s 0 496 2760 592 1 VPWR
port 9 nsew power bidirectional abutment
<< properties >>
string FIXED_BBOX 0 0 2760 544
string GDS_END 326040
string GDS_FILE $PDKPATH/libs.ref/sky130_fd_sc_hd/gds/sky130_fd_sc_hd.gds
string GDS_START 304594
string LEFclass CORE
string LEFsite unithd
string LEFsymmetry X Y R90
string path 0.000 2.720 13.800 2.720 
<< end >>
